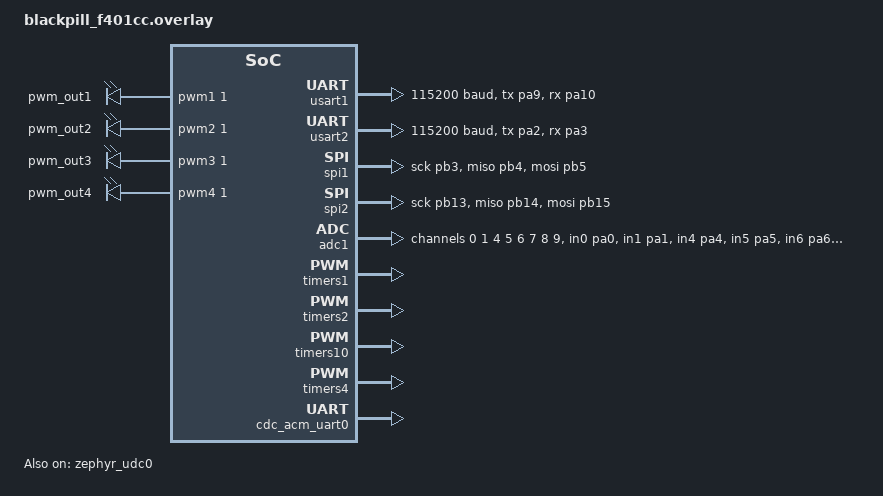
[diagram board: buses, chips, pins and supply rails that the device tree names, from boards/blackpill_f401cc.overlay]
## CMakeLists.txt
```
cmake_minimum_required(VERSION 3.20.0)

find_package(Zephyr REQUIRED HINTS $ENV{ZEPHYR_BASE})
project(pix_in_the_loop)

zephyr_include_directories(include)

add_subdirectory(src)
```

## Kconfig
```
mainmenu "PIX-in-the-Loop HIL Controller Configuration"

source "Kconfig.zephyr"

menu "Application Subsystems"

config APP_GPIO
    bool "Enable GPIO Subsystem"
    default y
    select GPIO
    help
      Enables GPIO control over ports A, B, and C (pins 0–15 each).
      Pin direction is configured lazily on first access, so no static
      allocation is needed and the host can use any pin as input or output.

config APP_PWM
    bool "Enable PWM Subsystem"
    default y
    select PWM
    help
      Enables four independent PWM outputs (channels 1–4), each driven by
      a separate hardware timer so they can operate at different frequencies
      simultaneously. Frequency range: ~15 Hz to ~500 kHz at 1 µs resolution.

config APP_SPI
    bool "Enable SPI Subsystem"
    default y
    select SPI
    select SPI_ASYNC
    select SPI_SLAVE
    select SPI_STM32_DMA
    select RESET
    help
      Enables two independent SPI channels (SPI1 on PB3/4/5, SPI2 on
      PB13/14/15) for master and slave-mode transfers. Each channel runs
      in its own worker thread so both can operate concurrently. Pulls in
      async + slave support and STM32 DMA, plus the reset controller used
      to recover the SPI peripheral after a failed or timed-out transfer.

config APP_UART
    bool "Enable UART Subsystem"
    default y
    select SERIAL
    select UART_ASYNC_API
    select DMA
    help
      Enables the DUT-facing USART channels (USART1 on PA9/PA10,
      USART2 on PA2/PA3) for serial stimulus and observation,
      independent of the USB CDC shell port. Both TX and RX run over
      DMA via the async UART API; RX is captured continuously into a
      per-channel ring buffer using a double-buffered DMA scheme.

config APP_ADC
    bool "Enable ADC Subsystem"
    default y
    select ADC
    help
        Enables ADC1 and exposes channels 0,1,4,5,6,7,8,9
        for single-shot analog sampling.

config APP_SHELL
    bool "Enable Interactive Shell"
    default y
    select SHELL
    help
      Enables the Zephyr interactive shell that exposes the `ctrl`
      command tree for host-driven hardware control.

endmenu
```

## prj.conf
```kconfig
# -----------------------
# Hardware Drivers
# -----------------------
# GPIO / PWM / SPI (and SPI's async/slave/DMA/reset deps) are pulled in by the
# APP_GPIO / APP_PWM / APP_SPI options in Kconfig. SERIAL stays here because the
# USB CDC ACM port and shell backend depend on it regardless of subsystems.
CONFIG_SERIAL=y

# Enables the uart_configure() syscall so the DUT-facing USARTs can have their
# baud rate, parity, and stop bits changed at runtime (ctrl uart_cfg).
CONFIG_UART_USE_RUNTIME_CONFIGURE=y

# -----------------------
# USB Device Stack
# -----------------------
CONFIG_USB_DEVICE_STACK=y
CONFIG_USB_DEVICE_INITIALIZE_AT_BOOT=n
CONFIG_USB_DEVICE_PRODUCT="Pix-in-the-Loop HIL Controller"
CONFIG_UART_LINE_CTRL=y

# -----------------------
# Shell Subsystem
# -----------------------
CONFIG_SHELL=y
CONFIG_SHELL_BACKEND_SERIAL=y
CONFIG_SHELL_BACKEND_SERIAL_INIT_PRIORITY=51
CONFIG_SHELL_PROMPT_UART="hil:~$ "

# -----------------------
# Console/Logging
# -----------------------
CONFIG_CONSOLE=y
CONFIG_UART_CONSOLE=y
CONFIG_LOG=y
CONFIG_LOG_MODE_DEFERRED=y
```

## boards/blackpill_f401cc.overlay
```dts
/ {
    chosen {
        zephyr,console = &cdc_acm_uart0;
        zephyr,shell-uart = &cdc_acm_uart0;
    };

    pwm_outputs {
        compatible = "pwm-leds";
        pwm_out1: pwm_out1 {
            pwms = <&pwm1 1 PWM_MSEC(1) PWM_POLARITY_NORMAL>;
        };
        pwm_out2: pwm_out2 {
            pwms = <&pwm2 1 PWM_MSEC(1) PWM_POLARITY_NORMAL>;
        };
        pwm_out3: pwm_out3 {
            pwms = <&pwm3 1 PWM_MSEC(1) PWM_POLARITY_NORMAL>;
        };
        pwm_out4: pwm_out4 {
            pwms = <&pwm4 1 PWM_MSEC(1) PWM_POLARITY_NORMAL>;
        };
    };

    aliases {
        hil-uart1 = &usart1;
        hil-uart2 = &usart2;
        hil-spi1 = &spi1;
        hil-spi2 = &spi2;
        hil-adc = &adc1;
        
        /* Expose each distinct timer channel for independent frequencies */
        pwm-f1 = &pwm_out1;
        pwm-f2 = &pwm_out2;
        pwm-f3 = &pwm_out3;
        pwm-f4 = &pwm_out4;
        
        porta = &gpioa;
        portb = &gpiob;
        portc = &gpioc;
    };
};

/* --- USARTS ---
 * DMA-driven (async API). F401 request map (RM0368):
 *   USART1 -> DMA2 ch4: TX stream7, RX stream5 (stream2 avoided — SPI1 RX).
 *   USART2 -> DMA1 ch4: TX stream6, RX stream5.
 * None of these streams collide with SPI1 (DMA2 s2/s3) or SPI2 (DMA1 s3/s4). */
&usart1 {
    status = "okay";
    current-speed = <115200>;
    pinctrl-0 = <&usart1_tx_pa9 &usart1_rx_pa10>;
    pinctrl-names = "default";
    dmas = <&dma2 7 4 STM32_DMA_PERIPH_TX STM32_DMA_FIFO_FULL>,
           <&dma2 5 4 STM32_DMA_PERIPH_RX STM32_DMA_FIFO_FULL>;
    dma-names = "tx", "rx";
};

&usart2 {
    status = "okay";
    current-speed = <115200>;
    pinctrl-0 = <&usart2_tx_pa2 &usart2_rx_pa3>;
    pinctrl-names = "default";
    dmas = <&dma1 6 4 STM32_DMA_PERIPH_TX STM32_DMA_FIFO_FULL>,
           <&dma1 5 4 STM32_DMA_PERIPH_RX STM32_DMA_FIFO_FULL>;
    dma-names = "tx", "rx";
};

/* --- SPI BUSES --- */
&spi1 {
    status = "okay";
    st,soft-nss;   /* Soft NSS: no physical CS/NSS pin needed */
    pinctrl-0 = <&spi1_sck_pb3 &spi1_miso_pb4 &spi1_mosi_pb5>;
    pinctrl-names = "default";
    dmas = <&dma2 3 3 STM32_DMA_PERIPH_TX STM32_DMA_FIFO_FULL>,
           <&dma2 2 3 STM32_DMA_PERIPH_RX STM32_DMA_FIFO_FULL>;
    dma-names = "tx", "rx";
};

&spi2 {
    status = "okay";
    st,soft-nss;   /* Soft NSS: no physical CS/NSS pin needed */
    pinctrl-0 = <&spi2_sck_pb13 &spi2_miso_pb14 &spi2_mosi_pb15>;
    pinctrl-names = "default";
    dmas = <&dma1 4 0 STM32_DMA_PERIPH_TX STM32_DMA_FIFO_FULL>,
           <&dma1 3 0 STM32_DMA_PERIPH_RX STM32_DMA_FIFO_FULL>;
    dma-names = "tx", "rx";
};

&adc1 {
    status = "okay";
    pinctrl-0 = <
        &adc1_in0_pa0
        &adc1_in1_pa1
        &adc1_in4_pa4
        &adc1_in5_pa5
        &adc1_in6_pa6
        &adc1_in7_pa7
        &adc1_in8_pb0
        &adc1_in9_pb1
    >;
    pinctrl-names = "default";
    #address-cells = <1>;
    #size-cells = <0>;

    channel@0 { reg = <0>; zephyr,gain = "ADC_GAIN_1"; zephyr,reference = "ADC_REF_INTERNAL"; zephyr,acquisition-time = <ADC_ACQ_TIME_DEFAULT>; zephyr,resolution = <12>; };
    channel@1 { reg = <1>; zephyr,gain = "ADC_GAIN_1"; zephyr,reference = "ADC_REF_INTERNAL"; zephyr,acquisition-time = <ADC_ACQ_TIME_DEFAULT>; zephyr,resolution = <12>; };
    channel@4 { reg = <4>; zephyr,gain = "ADC_GAIN_1"; zephyr,reference = "ADC_REF_INTERNAL"; zephyr,acquisition-time = <ADC_ACQ_TIME_DEFAULT>; zephyr,resolution = <12>; };
    channel@5 { reg = <5>; zephyr,gain = "ADC_GAIN_1"; zephyr,reference = "ADC_REF_INTERNAL"; zephyr,acquisition-time = <ADC_ACQ_TIME_DEFAULT>; zephyr,resolution = <12>; };
    channel@6 { reg = <6>; zephyr,gain = "ADC_GAIN_1"; zephyr,reference = "ADC_REF_INTERNAL"; zephyr,acquisition-time = <ADC_ACQ_TIME_DEFAULT>; zephyr,resolution = <12>; };
    channel@7 { reg = <7>; zephyr,gain = "ADC_GAIN_1"; zephyr,reference = "ADC_REF_INTERNAL"; zephyr,acquisition-time = <ADC_ACQ_TIME_DEFAULT>; zephyr,resolution = <12>; };
    channel@8 { reg = <8>; zephyr,gain = "ADC_GAIN_1"; zephyr,reference = "ADC_REF_INTERNAL"; zephyr,acquisition-time = <ADC_ACQ_TIME_DEFAULT>; zephyr,resolution = <12>; };
    channel@9 { reg = <9>; zephyr,gain = "ADC_GAIN_1"; zephyr,reference = "ADC_REF_INTERNAL"; zephyr,acquisition-time = <ADC_ACQ_TIME_DEFAULT>; zephyr,resolution = <12>; };
};

/* --- TIMERS FOR INDEPENDENT PWM ---
 * Timer kernel clock is 84 MHz. st,prescaler = 83 divides it to a 1 MHz tick
 * (1 us resolution), so requested periods fit the 16-bit counters (TIM1/4/10)
 * and frequencies from ~15 Hz up to ~500 kHz are reachable. */
&timers1 {
    status = "okay";
    st,prescaler = <83>;
    pwm1: pwm {
        status = "okay";
        pinctrl-0 = <&tim1_ch1_pa8>;
        pinctrl-names = "default";
    };
};

&timers2 {
    status = "okay";
    st,prescaler = <83>;
    pwm2: pwm {
        status = "okay";
        pinctrl-0 = <&tim2_ch1_pa15>;
        pinctrl-names = "default";
    };
};

/* PWM3 uses TIM10_CH1 (PB8) instead of TIM3 so that PB4 is free for SPI1
 * and TIM3's only pin options (PA6/PA7/PB0/PB1) stay available as ADC. */
&timers10 {
    status = "okay";
    st,prescaler = <83>;
    pwm3: pwm {
        status = "okay";
        pinctrl-0 = <&tim10_ch1_pb8>;
        pinctrl-names = "default";
    };
};

&timers4 {
    status = "okay";
    st,prescaler = <83>;
    pwm4: pwm {
        status = "okay";
        pinctrl-0 = <&tim4_ch1_pb6>;
        pinctrl-names = "default";
    };
};

&zephyr_udc0 {
    status = "okay";
    cdc_acm_uart0: cdc_acm_uart0 {
        compatible = "zephyr,cdc-acm-uart";
    };
};

/* I2C1 is disabled: the base board maps it to PB8/PB9, which are now used by
 * PWM3 (TIM10_CH1 on PB8) and as a Pure GPIO (PB9). */
&i2c1 {
    status = "disabled";
};

/* --- DMA CONTROLLERS --- */
&dma1 {
    status = "okay";
};

&dma2 {
    status = "okay";
};
```

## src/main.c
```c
#include <zephyr/kernel.h>
#include <zephyr/usb/usb_device.h>
#include <zephyr/logging/log.h>
#include "hardware.h"

LOG_MODULE_REGISTER(main, LOG_LEVEL_INF);

/* Verify only the hardware subsystems that are enabled via Kconfig. */
static int verify_hardware_readiness(void)
{
    int err = 0;
#ifdef CONFIG_APP_PWM
    if (verify_pwm_ready()  != 0) err = -ENODEV;
#endif
#ifdef CONFIG_APP_GPIO
    if (verify_gpio_ready() != 0) err = -ENODEV;
#endif
#ifdef CONFIG_APP_SPI
    if (verify_spi_ready()  != 0) err = -ENODEV;
#endif
#ifdef CONFIG_APP_UART
    if (verify_uart_ready() != 0) err = -ENODEV;
#endif
#ifdef CONFIG_APP_ADC
    if (verify_adc_ready()  != 0) err = -ENODEV;
#endif
    return err;
}

int main(void)
{
    /* Initialize the USB Stack to activate Virtual COM interface */
    int ret = usb_enable(NULL);
    if (ret != 0) {
        LOG_ERR("Failed to enable USB stack (err %d)", ret);
        return ret;
    }

    /* Verify core hardware components early at boot */
    if (verify_hardware_readiness() != 0) {
        LOG_ERR("FATAL: Hardware initialization failed.");
    } else {
        LOG_INF("Controller successfully initialized. USB CDC Shell is active.");
    }

    return 0;
}
```

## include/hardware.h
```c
/*
 * hardware.h — Interface boundary between the shell command layer and the
 * hardware driver implementations.
 *
 * Shell command handlers call only the functions declared here; they never
 * touch driver APIs directly. This keeps the shell module free of hardware
 * details and makes each subsystem independently testable.
 *
 * The verify_*_ready() functions are called once at boot. They return 0 on
 * success or a negative errno if any required device is not available. A
 * non-zero return causes main() to log a fatal error but does not halt the
 * system — the shell remains usable for diagnosis.
 */

#ifndef CONTROLLER_HARDWARE_H
#define CONTROLLER_HARDWARE_H

#include <zephyr/kernel.h>

/* Per-subsystem readiness checks — only defined when the corresponding
 * APP_* Kconfig option is enabled. */
int verify_pwm_ready(void);
int verify_gpio_ready(void);
int verify_spi_ready(void);
int verify_uart_ready(void);
int verify_adc_ready(void);

/* GPIO — port is 'A', 'B', or 'C'; pin is 0–15; value is 0 or 1.
 * Direction is configured lazily on first access (see hw_gpio.c). */
void handle_gpio_set(char port, int pin, int value);
int  handle_gpio_get(char port, int pin); /* returns pin level (0/1) or negative errno */

/* GPIO latency — drives a rising stimulus edge on out_port/out_pin and times,
 * in firmware, how long until the requested edge appears on in_port/in_pin.
 * edge is 'R' (rising), 'F' (falling), or 'B' (both). Returns the round-trip in
 * microseconds, -ETIMEDOUT if no edge arrives within timeout_ms, or -errno. */
int  handle_gpio_latency(char out_port, int out_pin, char in_port, int in_pin,
                         int edge, int timeout_ms);

/* PWM — channel 1–4; frequency in Hz; duty_permille in parts per thousand
 * (0 = always off, 1000 = always on). */
void handle_pwm_set(int channel, uint32_t frequency, uint32_t duty_permille);

/* UART — channel 1 (USART1, PA9/PA10) or 2 (USART2, PA2/PA3).
 * handle_uart_send: DMA TX; blocks until the transfer completes or times out.
 * handle_uart_recv: drains the DMA RX ring buffer; blocks until max_len bytes
 *   are available or timeout_ms elapses. Returns number of bytes placed in out,
 *   or negative errno on error.
 * handle_uart_config: reconfigures the line at runtime. parity is 'N', 'E', or
 *   'O'; stop_bits is 1 or 2; data bits stay at 8. Briefly disables and re-arms
 *   the DMA RX path around the change. Returns 0 or a negative errno. */
void handle_uart_send(int channel, const char *data, size_t len);
int  handle_uart_recv(int channel, uint8_t *out, size_t max_len, int timeout_ms);
int  handle_uart_config(int channel, uint32_t baudrate, char parity, int stop_bits);

int handle_adc_sample_channel(int channel);

/* SPI readback — channel is 1 or 2.
 * spi_arm_read: clears any stale completion so the next handle_spi_read() blocks
 *   for the transfer queued after this call. The shell calls it when posting a
 *   new transfer command.
 * handle_spi_read: blocks until the worker finishes a transfer (or timeout_ms
 *   elapses), then copies up to `max` received bytes into `out`. Returns the
 *   number of bytes copied, -ETIMEDOUT, -EIO if the transfer errored, or
 *   -EINVAL. */
void spi_arm_read(int channel);
int  handle_spi_read(int channel, uint8_t *out, size_t max, int timeout_ms);

#endif /* CONTROLLER_HARDWARE_H */
```

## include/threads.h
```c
/*
 * threads.h — Shared message queues and thread entry points.
 *
 * This header is the glue between the shell command layer (producers) and the
 * hardware worker threads (consumers). The shell handlers post commands here;
 * they never call hardware functions directly.
 *
 * Threading model:
 *   io_msgq      → io_cmd_dispatcher  (GPIO, PWM, UART — fast, non-blocking ops)
 *   spi1_msgq    → spi_worker_entry   (SPI channel 1 — can block for ms-range transfers)
 *   spi2_msgq    → spi_worker_entry   (SPI channel 2 — independent of channel 1)
 *
 * SPI gets its own per-channel worker precisely because slave-mode transfers
 * block until the master clocks data. Routing them through io_msgq would stall
 * every subsequent GPIO and PWM command for the duration of the wait.
 */

#ifndef CONTROLLER_THREADS_H
#define CONTROLLER_THREADS_H

#include <zephyr/kernel.h>
#include "types.h"

/* io_msgq: carries CMD_PWM_SET, CMD_GPIO_SET, and CMD_UART_SEND commands.
 * Producers: shell command handlers (shell thread context).
 * Consumer:  io_cmd_dispatcher. */
extern struct k_msgq io_msgq;

/* spi1_msgq / spi2_msgq: carry struct spi_cmd for USART1 and USART2 respectively.
 * Producers: cmd_spi_write / cmd_spi_slave_wait (shell thread context).
 * Consumers: one spi_worker_entry thread per channel. */
extern struct k_msgq spi1_msgq;
extern struct k_msgq spi2_msgq;

/* io_cmd_dispatcher: drains io_msgq forever, dispatching each command to the
 * appropriate handle_*() function. Runs at a lower priority than SPI workers
 * so in-flight SPI transfers are not preempted by GPIO/PWM bursts. */
void io_cmd_dispatcher(void *p1, void *p2, void *p3);

/* spi_worker_entry: shared entry point for both SPI channel workers.
 * p1 must point to a const struct spi_worker_config (defined in hw_spi.c)
 * that identifies the device, its DMA queue, and its reset controller line.
 * p2 and p3 are unused. */
void spi_worker_entry(void *p1, void *p2, void *p3);

#endif /* CONTROLLER_THREADS_H */
```

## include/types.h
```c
/*
 * types.h — Shared IPC types for the HIL controller firmware.
 *
 * This is the single source of truth for every command type that can travel
 * from the shell layer to the hardware workers. The shell thread produces
 * messages; the io_cmd_dispatcher and per-channel SPI workers consume them.
 * Nothing outside this file should define its own command representation.
 */

#ifndef CONTROLLER_TYPES_H
#define CONTROLLER_TYPES_H

#include <zephyr/kernel.h>
#include <stdbool.h>

/*
 * Payload size ceilings.
 *
 * SPI_MAX_PAYLOAD_SIZE: largest single SPI transfer the DMA buffers will hold.
 * UART_MAX_PAYLOAD_SIZE: largest single ASCII payload accepted by uart_send /
 *   returned by uart_recv. Kept well under a typical shell line limit so the
 *   entire command fits in one shell token with room for the verb and channel.
 */
#define SPI_MAX_PAYLOAD_SIZE  32
#define UART_MAX_PAYLOAD_SIZE 64

/*
 * Command types dispatched through io_msgq.
 *
 * CMD_PWM_SET  — handled by the io_cmd_dispatcher; calls handle_pwm_set().
 * CMD_GPIO_SET — handled by the io_cmd_dispatcher; calls handle_gpio_set().
 * CMD_UART_SEND — handled by the io_cmd_dispatcher; calls handle_uart_send().
 * CMD_UART_CONFIG — handled by the io_cmd_dispatcher; calls handle_uart_config().
 *
 * SPI commands travel on dedicated per-channel queues (spi1_msgq / spi2_msgq)
 * and are NOT represented here because SPI transfers can block for tens of
 * milliseconds; keeping them off io_msgq prevents them from stalling GPIO/PWM.
 */
enum cmd_type {
    CMD_PWM_SET,
    CMD_GPIO_SET,
    CMD_UART_SEND,
    CMD_UART_CONFIG
};

/*
 * Generic command message posted to io_msgq.
 *
 * Exactly one union member is valid at a time, selected by `type`. The shell
 * command handlers populate the appropriate member before calling k_msgq_put.
 */
struct io_cmd {
    enum cmd_type type;
    union {
        struct {
            int      channel;        /* 1–4 */
            uint32_t frequency;      /* Hz */
            uint32_t duty_permille;  /* 0–1000 (parts per thousand) */
        } pwm;

        struct {
            char port;   /* 'A', 'B', or 'C' */
            int  pin;    /* 0–15 */
            int  value;  /* 0 or 1 */
        } gpio;

        struct {
            int    channel;                    /* 1 or 2 */
            char   data[UART_MAX_PAYLOAD_SIZE]; /* ASCII payload, not NUL-terminated in transit */
            size_t len;                        /* number of valid bytes in data[] */
        } uart;

        struct {
            int      channel;    /* 1 or 2 */
            uint32_t baudrate;   /* bits per second, e.g. 9600 / 115200 */
            char     parity;     /* 'N' (none), 'E' (even), or 'O' (odd) */
            int      stop_bits;  /* 1 or 2 */
        } uart_cfg;
    } params;
};

/*
 * SPI command message posted to spi1_msgq or spi2_msgq.
 *
 * is_config == true: Update frequency/mode based on config parameters.
 * is_slave == false: master transceive (blocking, synchronous).
 * is_slave == true:  arm as slave for up to timeout_ms before timing out.
 */
struct spi_cmd {
    bool     is_config;
    uint32_t frequency; // Valid if is_config == true
    uint16_t operation; // Valid if is_config == true

    bool     is_slave;
    bool     cs_gated;   // slave only: wait for the reserved CS pin to fall before
                         // arming, so the slave frames deterministically on the
                         // master's software chip-select (see SPI_CS_* in hw_spi.c)
    int      timeout_ms;
    uint8_t  tx_buf[SPI_MAX_PAYLOAD_SIZE];
    size_t   len;
};

#endif /* CONTROLLER_TYPES_H */
```

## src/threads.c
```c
/*
 * threads.c — Message queues and the io_cmd_dispatcher thread.
 *
 * Threading model
 * ---------------
 * All GPIO, PWM, and UART commands share a single dispatcher thread that drains
 * io_msgq. These operations are fast (sub-microsecond register writes or a short
 * DMA-bounded TX), so serialising them through one thread is cheap and keeps
 * the design simple.
 *
 * SPI is different: slave-mode transfers block until a master clocks data, which
 * can take arbitrarily long. To prevent a waiting SPI transfer from starving
 * subsequent GPIO/PWM commands, each SPI channel runs its own dedicated worker
 * thread (defined in hw_spi.c) with a higher priority than this dispatcher.
 */

#include <zephyr/logging/log.h>
#include "threads.h"
#include "hardware.h"

LOG_MODULE_REGISTER(app_threads, LOG_LEVEL_INF);

/* Queue depth: 16 entries absorbs a rapid burst of shell commands from the
 * host without blocking the shell thread. The shell produces at most one
 * command per round-trip, so this ceiling is never reached in normal use. */
#define IO_MSGQ_DEPTH  16

/* SPI queue depth: shallower because SPI commands are slower to execute and
 * the host waits for acknowledgement before sending the next one. */
#define SPI_MSGQ_DEPTH 8

#define MSGQ_ALIGNMENT 4

/* Stack and priority for the io_cmd_dispatcher.
 * Priority 5 is intentionally lower than the SPI workers (priority 4) so an
 * in-flight SPI transfer is not preempted by a burst of GPIO/PWM dispatches. */
#define IO_THREAD_STACK_SIZE  2048
#define IO_THREAD_PRIORITY    5


K_MSGQ_DEFINE(io_msgq, sizeof(struct io_cmd), IO_MSGQ_DEPTH, MSGQ_ALIGNMENT);
#ifdef CONFIG_APP_SPI
K_MSGQ_DEFINE(spi1_msgq, sizeof(struct spi_cmd), SPI_MSGQ_DEPTH, MSGQ_ALIGNMENT);
K_MSGQ_DEFINE(spi2_msgq, sizeof(struct spi_cmd), SPI_MSGQ_DEPTH, MSGQ_ALIGNMENT);
#endif

void io_cmd_dispatcher(void *p1, void *p2, void *p3)
{
    struct io_cmd cmd;
    LOG_INF("Command Dispatcher thread started (priority %d)", IO_THREAD_PRIORITY);

    while (1) {
        /* K_FOREVER: sleep with zero CPU cost until a command arrives. */
        if (k_msgq_get(&io_msgq, &cmd, K_FOREVER) == 0) {
            switch (cmd.type) {
#ifdef CONFIG_APP_PWM
            case CMD_PWM_SET:
                handle_pwm_set(cmd.params.pwm.channel, cmd.params.pwm.frequency, cmd.params.pwm.duty_permille);
                break;
#endif
#ifdef CONFIG_APP_GPIO
            case CMD_GPIO_SET:
                handle_gpio_set(cmd.params.gpio.port, cmd.params.gpio.pin, cmd.params.gpio.value);
                break;
#endif
#ifdef CONFIG_APP_UART
            case CMD_UART_SEND:
                handle_uart_send(cmd.params.uart.channel, cmd.params.uart.data, cmd.params.uart.len);
                break;
            case CMD_UART_CONFIG:
                handle_uart_config(cmd.params.uart_cfg.channel, cmd.params.uart_cfg.baudrate,
                                   cmd.params.uart_cfg.parity, cmd.params.uart_cfg.stop_bits);
                break;
#endif
            default:
                break;
            }
        }
    }
}

/* Static thread definition. The dispatcher starts immediately at boot (delay=0)
 * and runs for the lifetime of the firmware. */
K_THREAD_DEFINE(io_worker_tid, IO_THREAD_STACK_SIZE, io_cmd_dispatcher, NULL, NULL, NULL, IO_THREAD_PRIORITY, 0, 0);
```
